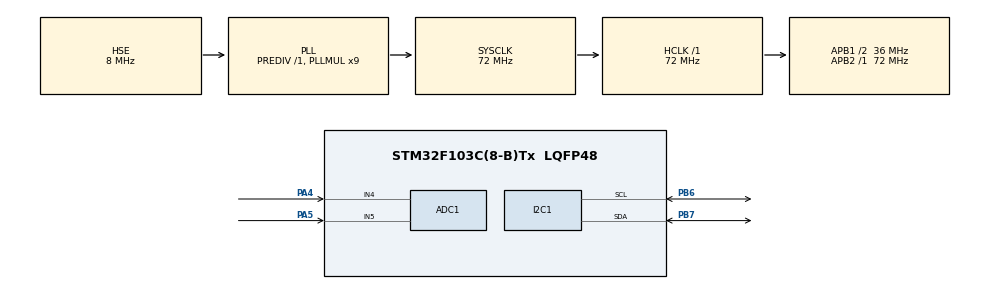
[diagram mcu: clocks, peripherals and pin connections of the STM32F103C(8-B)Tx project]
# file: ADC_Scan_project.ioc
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ADC1.Channel-0\#ChannelRegularConversion=ADC_CHANNEL_5
ADC1.Channel-1\#ChannelRegularConversion=ADC_CHANNEL_4
ADC1.Channel-2\#ChannelRegularConversion=ADC_CHANNEL_TEMPSENSOR
ADC1.Channel-3\#ChannelRegularConversion=ADC_CHANNEL_VREFINT
ADC1.ContinuousConvMode=ENABLE
ADC1.NbrOfConversion=4
ADC1.NbrOfConversionFlag=1
ADC1.Rank-0\#ChannelRegularConversion=1
ADC1.Rank-1\#ChannelRegularConversion=2
ADC1.Rank-2\#ChannelRegularConversion=3
ADC1.Rank-3\#ChannelRegularConversion=4
ADC1.SamplingTime-0\#ChannelRegularConversion=ADC_SAMPLETIME_71CYCLES_5
ADC1.SamplingTime-1\#ChannelRegularConversion=ADC_SAMPLETIME_71CYCLES_5
ADC1.SamplingTime-2\#ChannelRegularConversion=ADC_SAMPLETIME_71CYCLES_5
ADC1.SamplingTime-3\#ChannelRegularConversion=ADC_SAMPLETIME_71CYCLES_5
ADC1.master=1
Dma.ADC1.0.Direction=DMA_PERIPH_TO_MEMORY
Dma.ADC1.0.Instance=DMA1_Channel1
Dma.ADC1.0.MemDataAlignment=DMA_MDATAALIGN_HALFWORD
Dma.ADC1.0.MemInc=DMA_MINC_ENABLE
Dma.ADC1.0.Mode=DMA_CIRCULAR
Dma.ADC1.0.PeriphDataAlignment=DMA_PDATAALIGN_HALFWORD
Dma.ADC1.0.PeriphInc=DMA_PINC_DISABLE
Dma.ADC1.0.Priority=DMA_PRIORITY_LOW
Dma.Request0=ADC1
Mcu.Family=STM32F1
Mcu.Name=STM32F103C(8-B)Tx
Mcu.Package=LQFP48
NVIC.DMA1_Channel1_IRQn=true\:0\:0\:false\:false\:true\:false\:true\:true
NVIC.I2C1_ER_IRQn=true\:0\:0\:false\:false\:true\:true\:true\:true
NVIC.I2C1_EV_IRQn=true\:0\:0\:false\:false\:true\:true\:true\:true
NVIC.PriorityGroup=NVIC_PRIORITYGROUP_4
PA13.Mode=Serial_Wire
PA13.Signal=SYS_JTMS-SWDIO
PA14.Mode=Serial_Wire
PA14.Signal=SYS_JTCK-SWCLK
PA4.Signal=ADCx_IN4
PA5.Signal=ADCx_IN5
PB6.Mode=I2C
PB6.Signal=I2C1_SCL
PB7.Mode=I2C
PB7.Signal=I2C1_SDA
PD0-OSC_IN.Mode=HSE-External-Oscillator
PD0-OSC_IN.Signal=RCC_OSC_IN
PD1-OSC_OUT.Mode=HSE-External-Oscillator
PD1-OSC_OUT.Signal=RCC_OSC_OUT
ProjectManager.HeapSize=0x200
ProjectManager.StackSize=0x400
ProjectManager.TargetToolchain=STM32CubeIDE
RCC.ADCPresc=RCC_ADCPCLK2_DIV6
RCC.AHBFreq_Value=72000000
RCC.APB1CLKDivider=RCC_HCLK_DIV2
RCC.APB1Freq_Value=36000000
RCC.APB1TimFreq_Value=72000000
RCC.APB2Freq_Value=72000000
RCC.APB2TimFreq_Value=72000000
RCC.HCLKFreq_Value=72000000
RCC.PLLMUL=RCC_PLL_MUL9
RCC.PLLSourceVirtual=RCC_PLLSOURCE_HSE
RCC.SYSCLKFreq_VALUE=72000000
RCC.SYSCLKSource=RCC_SYSCLKSOURCE_PLLCLK
RCC.USBFreq_Value=72000000
SH.ADCx_IN4.0=ADC1_IN4,IN4
SH.ADCx_IN5.0=ADC1_IN5,IN5
VP_ADC1_TempSens_Input.Mode=IN-TempSens
VP_ADC1_Vref_Input.Mode=IN-Vrefint
board=custom

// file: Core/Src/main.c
/* USER CODE BEGIN Header */
/**
  ******************************************************************************
  * @file           : main.c
  * @brief          : Main program body
  ******************************************************************************
  * @attention
  *
  * Copyright (c) 2026 STMicroelectronics.
  * All rights reserved.
  *
  * This software is licensed under terms that can be found in the LICENSE file
  * in the root directory of this software component.
  * If no LICENSE file comes with this software, it is provided AS-IS.
  *
  ******************************************************************************
  */
/* USER CODE END Header */
#include "main.h"
#include "adc.h"
#include "dma.h"
#include "i2c.h"
#include "gpio.h"

/* USER CODE BEGIN Includes */
#include "oled.h"
#include <stdio.h>
#include <string.h>
#include "NTC.h"
#include <math.h>
/* USER CODE END Includes */

void SystemClock_Config(void);

/* USER CODE BEGIN 0 */
  uint16_t adc_val[4];
  float Voltage = 0.0;
  float Vref = 0.0;
  char buf[64] = "";
  char buf1[64] = "";
  char buf2[64] = "";
  char buf3[64] = "";
  char buf4[64] = "";
//void HAL_ADC_ConvCpltCallback(ADC_HandleTypeDef* hadc)//转换完成回调：中断模式和DMA模式共用；DMA模式下，整轮4通道转换并全部搬运完毕后才进来一次
//{
//  if(hadc == &hadc1)
//  {
//    sprintf(buf, "ADC1: %d, %d, %d, %d\r\n", adc_val[0], adc_val[1], adc_val[2], adc_val[3]);
//    SSD1306_SetCursor(4, 4);
//    SSD1306_WriteString(buf);
//
//  }
//}
/* USER CODE END 0 */

int main(void)
{

  /* MCU Configuration--------------------------------------------------------*/

  /* Reset of all peripherals, Initializes the Flash interface and the Systick. */
  HAL_Init();

  /* Configure the system clock */
  SystemClock_Config();

  /* Initialize all configured peripherals */
  MX_GPIO_Init();
  MX_DMA_Init();
  MX_ADC1_Init();
  MX_I2C1_Init();
  /* USER CODE BEGIN 2 */
  HAL_Delay(20);
  SSD1306_Init();
  HAL_Delay(20);

  HAL_ADCEx_Calibration_Start(&hadc1);//校准ADC
  //开启循环模式后会自动轮询，不用回调函数了，且只需启动一次即可
  HAL_ADC_Start_DMA(&hadc1, (uint32_t*)adc_val, sizeof(adc_val) / sizeof(adc_val[0]));//开启ADC转换（DMA模式）

  float NTC_R = 0.0;
  float NTC_T = 0.0;

  /* USER CODE END 2 */

  /* Infinite loop */
  /* USER CODE BEGIN WHILE */
  while (1)
  {
    SSD1306_Clear();

    SSD1306_DrawLine(0,0,SSD1306_WIDTH-1,0,1);
    SSD1306_DrawLine(0,0,0,SSD1306_HEIGHT-1,1);
    SSD1306_DrawLine(SSD1306_WIDTH-1,0,SSD1306_WIDTH-1,SSD1306_HEIGHT-1,1);
    SSD1306_DrawLine(0,SSD1306_HEIGHT-1,SSD1306_WIDTH-1,SSD1306_HEIGHT-1,1);

    //HAL_ADC_Start_DMA(&hadc1, (uint32_t*)adc_val, sizeof(adc_val) / sizeof(adc_val[0]));//开启ADC转换（DMA模式）

    NTC_R = ADC2Resistance(adc_val[1]);
    NTC_T = resistance2Temperature(NTC_R);

    Vref = 1.2 * (4095.0 / (float)adc_val[3]);
    Voltage = Vref * ((float)adc_val[0] / 4095.0);

    sprintf(buf, "NTC_R: %.1f\r\n",NTC_R);
    sprintf(buf1, "NTC_T: %.2f\r\n",NTC_T);
    sprintf(buf2, "Vref: %.1f\r\n",Vref);
    sprintf(buf3, "Voltage: %.2f\r\n",Voltage);
    sprintf(buf4, "ADC_V: %d\r\n",adc_val[3]);

    SSD1306_SetCursor(4, 4);
    SSD1306_WriteString(buf);

    SSD1306_SetCursor(4, 18);
    SSD1306_WriteString(buf1);

    SSD1306_SetCursor(4, 27);
    SSD1306_WriteString(buf4);

    SSD1306_SetCursor(4, 36);
    SSD1306_WriteString(buf2);

    SSD1306_SetCursor(4, 45);
    SSD1306_WriteString(buf3);

    SSD1306_UpdateScreen();

    HAL_Delay(100);

    /* USER CODE END WHILE */

  }
}

void SystemClock_Config(void)
{
  RCC_OscInitTypeDef RCC_OscInitStruct = {0};
  RCC_ClkInitTypeDef RCC_ClkInitStruct = {0};
  RCC_PeriphCLKInitTypeDef PeriphClkInit = {0};

  /** Initializes the RCC Oscillators according to the specified parameters
  * in the RCC_OscInitTypeDef structure.
  */
  RCC_OscInitStruct.OscillatorType = RCC_OSCILLATORTYPE_HSE;
  RCC_OscInitStruct.HSEState = RCC_HSE_ON;
  RCC_OscInitStruct.HSEPredivValue = RCC_HSE_PREDIV_DIV1;
  RCC_OscInitStruct.HSIState = RCC_HSI_ON;
  RCC_OscInitStruct.PLL.PLLState = RCC_PLL_ON;
  RCC_OscInitStruct.PLL.PLLSource = RCC_PLLSOURCE_HSE;
  RCC_OscInitStruct.PLL.PLLMUL = RCC_PLL_MUL9;
  if (HAL_RCC_OscConfig(&RCC_OscInitStruct) != HAL_OK)
  {
    Error_Handler();
  }

  /** Initializes the CPU, AHB and APB buses clocks
  */
  RCC_ClkInitStruct.ClockType = RCC_CLOCKTYPE_HCLK|RCC_CLOCKTYPE_SYSCLK
                              |RCC_CLOCKTYPE_PCLK1|RCC_CLOCKTYPE_PCLK2;
  RCC_ClkInitStruct.SYSCLKSource = RCC_SYSCLKSOURCE_PLLCLK;
  RCC_ClkInitStruct.AHBCLKDivider = RCC_SYSCLK_DIV1;
  RCC_ClkInitStruct.APB1CLKDivider = RCC_HCLK_DIV2;
  RCC_ClkInitStruct.APB2CLKDivider = RCC_HCLK_DIV1;

  if (HAL_RCC_ClockConfig(&RCC_ClkInitStruct, FLASH_LATENCY_2) != HAL_OK)
  {
    Error_Handler();
  }
  PeriphClkInit.PeriphClockSelection = RCC_PERIPHCLK_ADC;
  PeriphClkInit.AdcClockSelection = RCC_ADCPCLK2_DIV6;
  if (HAL_RCCEx_PeriphCLKConfig(&PeriphClkInit) != HAL_OK)
  {
    Error_Handler();
  }
}

void Error_Handler(void)
{
  __disable_irq();
  while (1)
  {
  }
}
